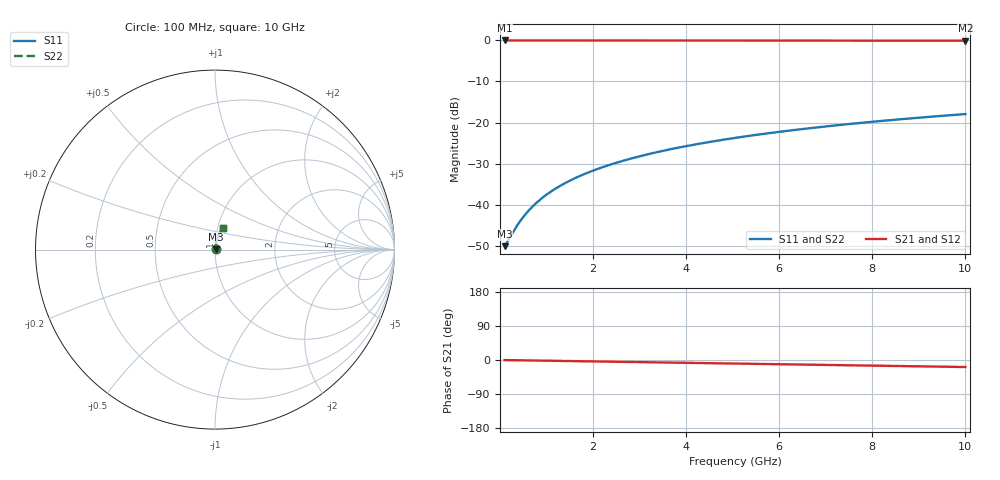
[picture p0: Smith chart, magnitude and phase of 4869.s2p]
# Hz S RI R 50.00
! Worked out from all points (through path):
!   100 points, 100 MHz to 10 GHz, reference 50 ohm
!   highest |S21| = -0.02 dB at 100 MHz (marker M1); lowest = -0.1 dB at 10 GHz (marker M2)
!   group delay of S21, straight-line fit = 5.16 ps
!   lowest |S11| = -50.1 dB at 100 MHz (marker M3), VSWR 1.01, Z = 50.3 + j0.129 ohm
!   |S11| at or under -10 dB: start of sweep to end of sweep
!   |S22| runs from -50.1 to -17.9 dB; largest |S21 - S12| = 0
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1e8  0.00285 0.00128  0.9971 -0.00323  0.9971 -0.00323  0.00285 0.00128
2e8  0.00288 0.00256  0.9971 -0.00647  0.9971 -0.00647  0.00288 0.00256
3e8  0.00292 0.00385  0.9971 -0.0097  0.9971 -0.0097  0.00292 0.00385
4e8  0.00296 0.00513  0.997 -0.0129  0.997 -0.0129  0.00296 0.00513
5e8  0.003 0.00641  0.9969 -0.0162  0.9969 -0.0162  0.003 0.00641
6e8  0.00306 0.00769  0.9969 -0.0194  0.9969 -0.0194  0.00306 0.00769
7e8  0.00312 0.00897  0.9968 -0.0226  0.9968 -0.0226  0.00312 0.00897
8e8  0.00319 0.0103  0.9967 -0.0259  0.9967 -0.0259  0.00319 0.0103
1e9  0.00335 0.0128  0.9964 -0.0323  0.9964 -0.0323  0.00335 0.0128
1.2e9  0.00354 0.0154  0.9962 -0.0388  0.9962 -0.0388  0.00354 0.0154
1.5e9  0.00389 0.0192  0.9957 -0.0485  0.9957 -0.0485  0.00389 0.0192
1.8e9  0.00431 0.023  0.995 -0.0581  0.995 -0.0581  0.00431 0.023
2.1e9  0.00481 0.0268  0.9943 -0.0678  0.9943 -0.0678  0.00481 0.0268
2.5e9  0.00558 0.0319  0.9932 -0.0807  0.9932 -0.0807  0.00558 0.0319
2.9e9  0.00649 0.0369  0.9919 -0.0936  0.9919 -0.0936  0.00649 0.0369
3.4e9  0.0078 0.0432  0.9899 -0.1096  0.9899 -0.1096  0.0078 0.0432
4.2e9  0.0103 0.0531  0.9862 -0.1352  0.9862 -0.1352  0.0103 0.0531
5.1e9  0.0138 0.0641  0.9812 -0.1638  0.9812 -0.1638  0.0138 0.0641
5.9e9  0.0174 0.0737  0.9758 -0.189  0.9758 -0.189  0.0174 0.0737
6.7e9  0.0215 0.0831  0.9698 -0.2141  0.9698 -0.2141  0.0215 0.0831
8.4e9  0.0317 0.1022  0.9545 -0.2665  0.9545 -0.2665  0.0317 0.1022
1e10  0.0432 0.1191  0.9372 -0.3148  0.9372 -0.3148  0.0432 0.1191
